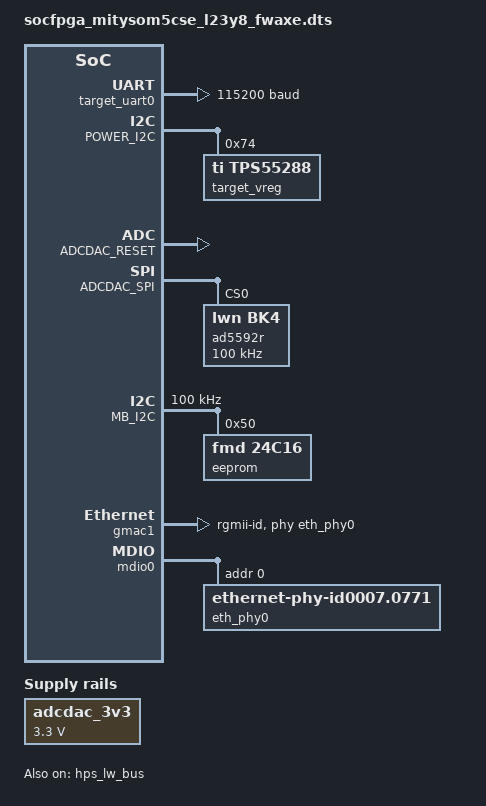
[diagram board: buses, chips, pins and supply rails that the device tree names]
#include <dt-bindings/interrupt-controller/irq.h>
#include <dt-bindings/gpio/gpio.h>
#include <dt-bindings/iio/adi,ad5592r.h>
#include "socfpga_mitysom5cse_l23y8.dtsi"

/ {
	aliases {
		/* this allow the ethaddr uboot environmnet variable contents
		 * to be added to the gmac1 device tree blob.
		 */
		ethernet0 = &gmac1;
	};
        adcdac_3v3: adcdac-vref {
                compatible = "regulator-fixed";
                regulator-name = "adcdac-vref-3v3";
                regulator-min-microvolt = <3300000>;
                regulator-max-microvolt = <3300000>;
                regulator-always-on;
        };
};

// no functionality in the FPGA gates
&hps_lw_bus {
	status = "okay";

        sysid_qsys: sysid@00 {
                compatible = "altr,sysid-19.1", "altr,sysid-1.0";
                reg = <0x00000000 0x00000008>;
                id = <4273603590>;	
                timestamp = <1602170500>;
        }; //end sysid@00 (sysid_qsys)

        OCD_GPIO: ocd_gpio@0x40 {
                compatible = "altr,pio-1.0";
                reg = <0x0040 0x20>;
                interrupts = <0 40 4>;
                altr,ngpio = <7>;
                #gpio-cells = <2>;
                gpio-controller;
                altr,interrupt-type = <IRQ_TYPE_LEVEL_HIGH>;
                #interrupt-cells = <1>;
                interrupt-controller;
        }; //end ocd_gpio@0x40 

        target_uart0: target_serial@0x0100 {
                compatible = "altr,uart-19.1", "altr,uart-1.0";
                reg = <0x00000100 0x00000020>;
                interrupt-parent = <&intc>;
                interrupts = <0 41 4>;
                clock-frequency = <100000000>;  
                current-speed = <115200>; 
        }; //end serial@0x100000040 (hps_nios_uart)

        POWER_I2C: power_i2c@0x00000140 {
                compatible = "altr,softip-i2c-v1.0";
                reg = <0x00000140 0x00000040>;
                interrupt-parent = <&intc>;
                interrupts = <0 42 4>;
                clocks = <&h2f_user0_clk>;
                #address-cells = <1>;
                #size-cells = <0>;
                target_vreg: tps55288@0 {
                        // regulator framework only supports read access
                        // from sysfs, so this is actually implemented in
                        // user-space, but this def is left here for documentation
                        // purposes - if a driver binds to it the user-space will
                        // stop working!
                        compatible = "ti,tps55288";
                        reg = <0x74>;
                        regulator-name = "target-vbus";
                };
        }; //end power_i2c@0x00000140 (SLOT1_I2C)

        ADCDAC_RESET: adcdac_reset@200 {
                compatible = "altr,pio-1.0";
                reg = <0x0200 0x20>;
                altr,ngpio = <1>;
                resetvalue = <0>;
                #gpio-cells = <2>;
                gpio-controller;
        }; //end adcdac_reset@20 

        ADCDAC_SPI: adcdac_spi@0x0240 {
                compatible = "altr,spi-20.1", "altr,spi-1.0";
                reg = <0x00000240 0x00000020>;
                interrupt-parent = <&intc>;
                interrupts = <0 43 4>;
                clocks = <&h2f_user0_clk>;
                num-cs = <1>;

                // LTC2445 ADC @ 0 
//                ad5592r@0{
//                        compatible = "adi,ad5592r";
//                        #size-cells = <0>;
//                        #address-cells = <1>;
//                        #gpio-cells = <2>;
//                        reg = <0>;
//
//                        spi-max-frequency = <100000>;
//                        spi-cpol;
//
//                        vref-supply = <&adcdac_3v3>;
//                        reset-gpios = <&ADCDAC_RESET 0 GPIO_ACTIVE_LOW>;
//
//                        channel@0 {
//                                reg = <0>;
//                                adi,mode = <CH_MODE_ADC>;
//                        };                        
//                };

                /* LTC2445 ADC @ 0 */
                // use spidev to support this since the Altera SPI core driver
                // seems to have difficulty with the CPOL flags required by
                // this device - we're faking the compatible ID here to avoid
                // patching the kernel source - LOOK OUT FOR BREAKAGE
                // the Kernel.org crew does not like adding things here since
                // it tends to get very, very, board-specific but this device
                // is kinda similar to our project and _unlikely_ to conflict
                // but that's a risky assumption long term
                ad5592r@0{
                        compatible = "lwn,bk4";
                        reg = <0>;
                        spi-max-frequency = <100000>;
                };

        }; //end adcdac_spi@0x0240 (ADCDAC_SPI)

	diag_led: diag_led@0x1000 {
		compatible = "altr,pio-20.1", "altr,pio-1.0";
		reg = <0x00001000 0x00000010>;
                altr,ngpio = <2>;
		resetvalue = <3>;
		#gpio-cells = <2>;
		gpio-controller;
	}; //end gpio@0x1000 (diag_led)

        MB_I2C: mb_i2c@0x1040 {
                compatible = "altr,softip-i2c-v1.0";
                reg = <0x0001040 0x00000040>;
                interrupt-parent = <&intc>;
                interrupts = <0 44 4>;
                clocks = <&h2f_user0_clk>;
                clock-frequency = <100000>;
                #address-cells = <1>;
                #size-cells = <0>;
                fifo-size = <4>;

                eeprom@50 {
                        compatible = "fmd,24c16";
                        reg = <0x50>;
                };

        }; // end mb_i2c@0x6400

};

&gmac1 {
	phy-mode = "rgmii-id";
        phy-handle = <&eth_phy0>;
};

&mdio0 {
        eth_phy0: ethernet-phy@0 {
                compatible = "ethernet-phy-id0007.0771";
                device_type = "ethernet-phy";
                reg = <0>;
        };
};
